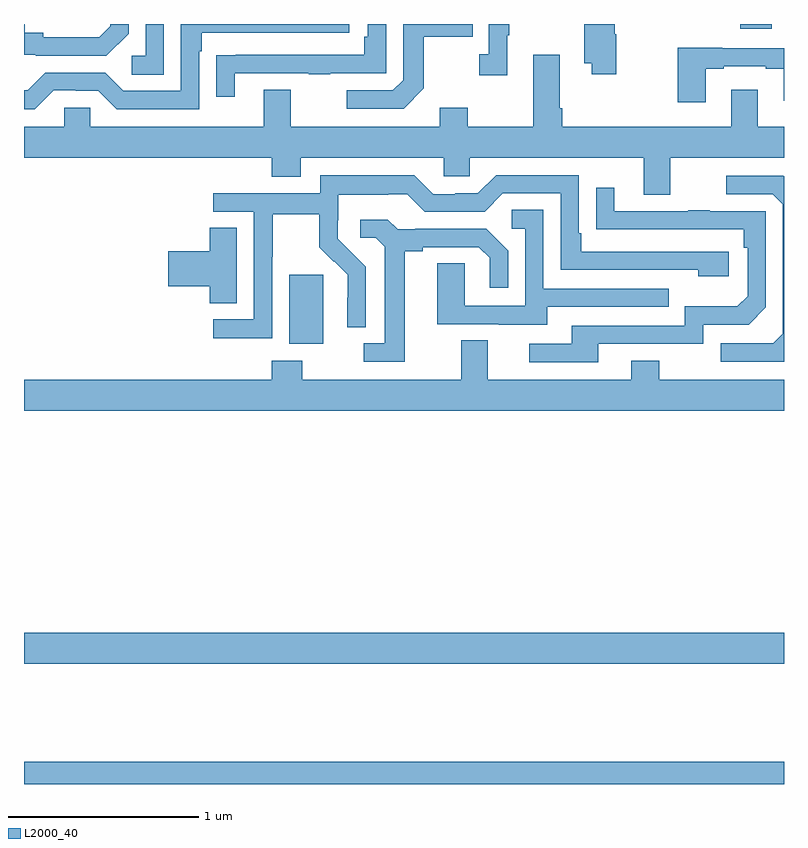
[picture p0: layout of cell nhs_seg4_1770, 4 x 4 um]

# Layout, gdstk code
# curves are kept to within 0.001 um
import gdstk
lib = gdstk.Library(unit=1e-6, precision=1e-09)
def R(c, l, rs):  # rectangles x0, y0, x1, y1
    for r in rs: c.add(gdstk.rectangle(r[:2], r[2:], *l))
def P(c, l, *ps):  # polygons
    for p in ps: c.add(gdstk.Polygon(p, *l))
L2000_40 = (2000, 40)

nhs_seg4_1770 = lib.new_cell('nhs_seg4_1770')
R(nhs_seg4_1770, L2000_40, [(203,750.9,207,751.016), (203,751.532,207,751.696), (204.395,753.218,204.574,753.579), (206.771,754.875,206.935,754.9)])
P(nhs_seg4_1770, L2000_40, [(203.55,754.85),(203.55,754.9),(203.453,754.9),(203.453,754.887),(203.396,754.83),(203.101,754.83),(203.101,754.853),(203.005,754.853),(203.005,754.9),(203,754.9),(203,754.737),(203.062,754.737),(203.062,754.734),(203.434,754.734)],
  [(206.118,754.847),(206.11,754.847),(206.11,754.9),(205.948,754.9),(205.948,754.694),(205.988,754.694),(205.988,754.635),(206.118,754.635)],
  [(205.543,754.841),(205.555,754.841),(205.555,754.9),(205.446,754.9),(205.446,754.742),(205.395,754.742),(205.395,754.629),(205.543,754.629)],
  [(203.736,754.9),(203.64,754.9),(203.64,754.734),(203.568,754.734),(203.568,754.633),(203.736,754.633)],
  [(204.109,754.641),(204.499,754.641),(204.499,754.636),(204.611,754.636),(204.611,754.641),(204.906,754.641),(204.906,754.9),(204.81,754.9),(204.81,754.834),(204.79,754.834),(204.79,754.737),(204.115,754.737),(204.115,754.736),(204.013,754.736),(204.013,754.518),(204.109,754.518)],
  [(205.105,754.561),(205.105,754.834),(205.361,754.834),(205.361,754.9),(204.996,754.9),(204.996,754.605),(204.942,754.551),(204.699,754.551),(204.699,754.455),(204.999,754.455)],
  [(203.157,754.551),(203.273,754.551),(203.273,754.548),(203.391,754.548),(203.487,754.452),(203.922,754.452),(203.922,754.757),(203.935,754.757),(203.935,754.854),(204.712,754.854),(204.712,754.9),(203.826,754.9),(203.826,754.548),(203.523,754.548),(203.427,754.644),(203.112,754.644),(203.019,754.551),(203,754.551),(203,754.451),(203.057,754.451)],
  [(206.587,754.665),(206.683,754.665),(206.683,754.677),(206.903,754.677),(206.903,754.665),(206.999,754.665),(206.999,754.496),(207,754.496),(207,754.773),(206.675,754.773),(206.675,754.774),(206.44,754.774),(206.44,754.488),(206.587,754.488)],
  [(206.401,754.196),(207,754.196),(207,754.36),(206.863,754.36),(206.863,754.555),(206.723,754.555),(206.723,754.36),(205.832,754.36),(205.832,754.456),(205.819,754.456),(205.819,754.738),(205.679,754.738),(205.679,754.36),(205.335,754.36),(205.335,754.459),(205.187,754.459),(205.187,754.36),(204.403,754.36),(204.403,754.555),(204.263,754.555),(204.263,754.36),(203.349,754.36),(203.349,754.458),(203.211,754.458),(203.211,754.36),(203,754.36),(203,754.196),(204.305,754.196),(204.305,754.097),(204.457,754.097),(204.457,754.196),(205.209,754.196),(205.209,754.098),(205.347,754.098),(205.347,754.196),(206.261,754.196),(206.261,754.002),(206.401,754.002)],
  [(204.21,753.912),(204.21,753.345),(203.997,753.345),(203.997,753.247),(204.306,753.247),(204.306,753.676),(204.309,753.676),(204.309,753.9),(204.553,753.9),(204.553,753.725),(204.63,753.648),(204.633,753.651),(204.704,753.581),(204.704,753.458),(204.702,753.458),(204.702,753.304),(204.798,753.304),(204.798,753.622),(204.652,753.77),(204.652,753.867),(204.654,753.867),(204.654,754.001),(204.917,754.001),(204.917,754.005),(205.017,754.005),(205.11,753.912),(205.425,753.912),(205.521,754.008),(205.824,754.008),(205.824,753.606),(206.549,753.606),(206.549,753.572),(206.71,753.572),(206.71,753.702),(205.933,753.702),(205.933,753.799),(205.92,753.799),(205.92,754.104),(205.485,754.104),(205.389,754.008),(205.271,754.008),(205.271,754.005),(205.155,754.005),(205.055,754.105),(204.558,754.105),(204.558,754.008),(203.997,754.008),(203.997,753.912)],
  [(207,754.098),(206.997,754.101),(206.697,754.101),(206.697,754.005),(206.94,754.005),(206.994,753.951),(206.994,753.27),(206.943,753.219),(206.667,753.219),(206.667,753.123),(207,753.123)],
  [(206.023,753.216),(206.574,753.216),(206.574,753.318),(206.814,753.318),(206.904,753.408),(206.904,753.915),(206.609,753.915),(206.609,753.92),(206.497,753.92),(206.497,753.915),(206.107,753.915),(206.107,754.039),(206.011,754.039),(206.011,753.82),(206.788,753.819),(206.788,753.722),(206.808,753.722),(206.808,753.468),(206.755,753.415),(206.478,753.415),(206.478,753.312),(205.883,753.312),(205.883,753.216),(205.659,753.216),(205.659,753.12),(206.023,753.12)],
  [(205.753,753.411),(206.393,753.411),(206.393,753.507),(205.734,753.507),(205.734,753.923),(205.566,753.923),(205.566,753.822),(205.638,753.822),(205.638,753.417),(205.32,753.417),(205.32,753.641),(205.175,753.641),(205.175,753.321),(205.499,753.321),(205.499,753.317),(205.753,753.317)],
  [(205.003,753.704),(205.099,753.704),(205.099,753.726),(205.394,753.726),(205.451,753.669),(205.451,753.513),(205.548,753.513),(205.548,753.706),(205.432,753.822),(205.06,753.822),(205.06,753.819),(204.966,753.819),(204.914,753.871),(204.771,753.871),(204.771,753.774),(204.852,753.774),(204.899,753.727),(204.899,753.219),(204.789,753.219),(204.789,753.123),(205.003,753.123)],
  [(204.121,753.827),(203.978,753.827),(203.978,753.704),(203.76,753.704),(203.76,753.521),(203.978,753.521),(203.978,753.43),(204.121,753.43)],
  [(207,753.028),(206.343,753.028),(206.343,753.127),(206.195,753.127),(206.195,753.028),(205.441,753.028),(205.441,753.236),(205.301,753.236),(205.301,753.028),(204.465,753.028),(204.465,753.127),(204.305,753.127),(204.305,753.028),(203,753.028),(203,752.864),(207,752.864)])

lib.write_gds('nhs_seg4_1770.gds')
